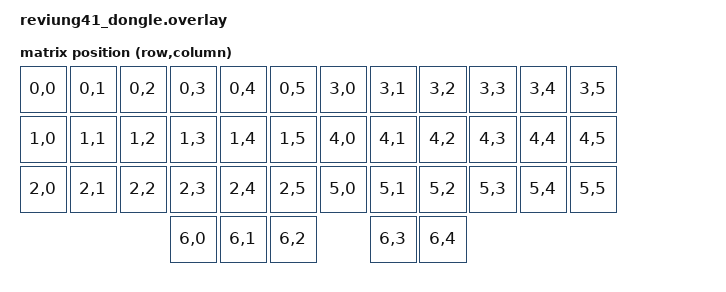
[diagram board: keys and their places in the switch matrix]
#include <dt-bindings/zmk/matrix_transform.h>
#include <dt-bindings/led/led.h>
#include <zephyr/dt-bindings/mipi_dbi/mipi_dbi.h>

#include <layouts/gtips/reviung41.dtsi>

&gtips_reviung41_layout {
    transform = <&default_transform>;
};

&pinctrl {
    spi2_default: spi2_default {
        group1 {
            psels = <NRF_PSEL(SPIM_SCK, 0, 2)>,
                    <NRF_PSEL(SPIM_MOSI, 0, 3)>;
        };
    };

    spi2_sleep: spi2_sleep {
        group1 {
            psels = <NRF_PSEL(SPIM_SCK, 0, 2)>,
                    <NRF_PSEL(SPIM_MOSI, 0, 3)>;
            low-power-enable;
        };
    };

    spi1_default: spi1_default {
        group1 {
            psels = <NRF_PSEL(SPIM_SCK, 1, 13)>,
                    <NRF_PSEL(SPIM_MOSI, 1, 15)>;
        };
    };

    spi1_sleep: spi1_sleep {
        group1 {
            psels = <NRF_PSEL(SPIM_SCK, 1, 13)>,
                    <NRF_PSEL(SPIM_MOSI, 1, 15)>;
            low-power-enable;
        };
    };
};

&spi2 {
    compatible = "nordic,nrf-spim";
    status = "okay";
    pinctrl-0 = <&spi2_default>;
    pinctrl-1 = <&spi2_sleep>;
    pinctrl-names = "default", "sleep";

    led_strip: ws2812@0 {
        compatible = "worldsemi,ws2812-spi";
        reg = <0>;
        spi-max-frequency = <4000000>;
        chain-length = <0>; /* dummy underglow has 0 LEDs */
        spi-one-frame = <0x70>;
        spi-zero-frame = <0x40>;
        color-mapping = <LED_COLOR_ID_GREEN LED_COLOR_ID_RED LED_COLOR_ID_BLUE>;
    };
};

&spi1 {
    compatible = "nordic,nrf-spim";
    status = "okay";
    pinctrl-0 = <&spi1_default>;
    pinctrl-1 = <&spi1_sleep>;
    pinctrl-names = "default", "sleep";
    cs-gpios = <&gpio1 12 GPIO_ACTIVE_LOW>;
};

&i2c0 {
    status = "disabled";
};

/ {
    chosen {
        zmk,kscan = &mock_kscan;
        zmk,physical-layout = &gtips_reviung41_layout;
        zmk,underglow = &led_strip;
        zephyr,display = &st7789v;
    };

    mipi_dbi {
        compatible = "zephyr,mipi-dbi-spi";
        spi-dev = <&spi1>;
        dc-gpios = <&gpio1 11 GPIO_ACTIVE_HIGH>;   // D6 (P1.11)
        reset-gpios = <&gpio0 29 GPIO_ACTIVE_LOW>; // D3 (P0.29)
        write-only;
        #address-cells = <1>;
        #size-cells = <0>;

        st7789v: st7789v@0 {
            compatible = "sitronix,st7789v";
            reg = <0>;
            mipi-max-frequency = <24000000>;
            width = <240>;
            height = <320>;
            x-offset = <0>;
            y-offset = <0>;
            vcom = <0x19>;
            gctrl = <0x35>;
            vrhs = <0x12>;
            vdvs = <0x20>;
            mdac = <0x00>;
            gamma = <0x01>;
            colmod = <0x05>;
            lcm = <0x2c>;
            porch-param = [0c 0c 00 33 33];
            cmd2en-param = [5a 69 02 01];
            pwctrl1-param = [a4 a1];
            pvgam-param = [D0 04 0D 11 13 2B 3F 54 4C 18 0D 0B 1F 23];
            nvgam-param = [D0 04 0C 11 13 2C 3F 44 51 2F 1F 1F 20 23];
            ram-param = [00 F0];
            rgb-param = [CD 08 14];
            mipi-mode = "MIPI_DBI_MODE_SPI_4WIRE";
        };
    };

    default_transform: keymap_transform_0 {
        compatible = "zmk,matrix-transform";
        columns = <6>;
        rows = <7>;

        map = <
RC(0,0) RC(0,1) RC(0,2) RC(0,3) RC(0,4) RC(0,5) RC(3,0) RC(3,1) RC(3,2) RC(3,3) RC(3,4) RC(3,5)
RC(1,0) RC(1,1) RC(1,2) RC(1,3) RC(1,4) RC(1,5) RC(4,0) RC(4,1) RC(4,2) RC(4,3) RC(4,4) RC(4,5)
RC(2,0) RC(2,1) RC(2,2) RC(2,3) RC(2,4) RC(2,5) RC(5,0) RC(5,1) RC(5,2) RC(5,3) RC(5,4) RC(5,5)
                        RC(6,0)    RC(6,1)  RC(6,2)  RC(6,3)    RC(6,4)
        >;
    };

    mock_kscan: mock_kscan_0 {
        compatible = "zmk,kscan-mock";
        columns = <0>;
        rows = <0>;
        events = <0>;
    };
};

